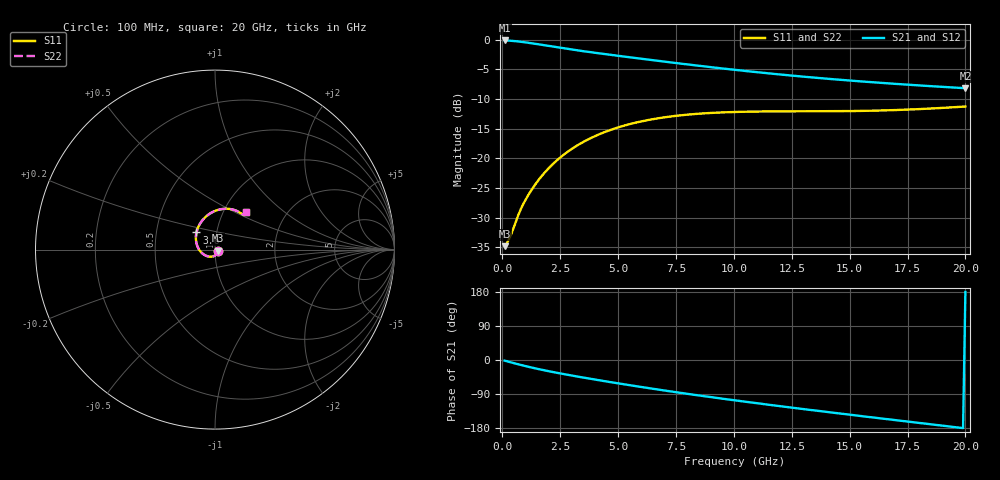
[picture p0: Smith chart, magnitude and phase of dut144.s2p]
! Touchstone file exported from HFSS 2023.1.0
!  File:  D:/Users/fzz/RDL_TSV/temp_RDL_TSV_144_1778752582.aedt
!  Generated:  6:04:47 %x4E0B%x5348  5%x6708 14, 2026
!  Design:  RDL_TSV
!  Project:  temp_RDL_TSV_144_1778752582
!  Setup:  Setup1
!  Solution:  Sweep
! Variables:
!  dtsv = 15.02um
!  hbump = 3um
!  htsv = 82.29um
!  ldown = 304.69um
!  lrdl = 280.45um
!  p = 40
!  p1 = 41.22um
!  rhole = 10um
!  subl = 2035.87um
!  t = 450um
!  tdown = 4.62um
!  trdl = 2.09um
!  viad = 10um
!  wdown = 15.69um
!  wrdl = 14.47um
!  xbump = 18um
# GHz S MA R 50.000000
! Terminal data exported
! Port[1] = TM1_1_T1
! Port[2] = TM1_4_T1
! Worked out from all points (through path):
!   200 points, 100 MHz to 20 GHz, reference 50 ohm
!   highest |S21| = -0.16 dB at 100 MHz (marker M1); lowest = -8.2 dB at 20 GHz (marker M2)
!   group delay of S21, straight-line fit = 23.7 ps
!   lowest |S11| = -34.8 dB at 100 MHz (marker M3), VSWR 1.04, Z = 51.8 - j0.551 ohm
!   |S11| at or under -10 dB: start of sweep to end of sweep
!   |S22| runs from -34.8 to -11.3 dB; largest |S21 - S12| = 9e-15
!   S11 on the Smith chart (normalised r, x): 100 MHz: 1.04, -0.01; 3.6 GHz: 0.80, +0.16; 20 GHz: 1.27, +0.58
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0.1  0.01821 -17.0  0.9817 -1.7  0.9817 -1.7  0.01821 -17.0
! Gamma 0 0 0 0
! Port Impedance 50 0 50 0
0.3  0.02107 -47.4  0.9779 -5.1  0.9779 -5.1  0.02102 -47.3
0.7  0.03358 -91.8  0.9624 -11.5  0.9624 -11.5  0.0338 -91.6
0.9  0.04094 -109.9  0.952 -14.6  0.952 -14.6  0.04107 -110.0
1.2  0.05186 -131.8  0.934 -19.0  0.934 -19.0  0.05188 -131.8
1.5  0.06314 -149.5  0.9146 -23.1  0.9146 -23.1  0.06314 -149.5
1.9  0.07852 -168.9  0.8885 -28.3  0.8885 -28.3  0.07851 -168.9
2.4  0.0977 171.3  0.8573 -34.3  0.8573 -34.3  0.09768 171.3
2.9  0.1163 155.3  0.8286 -39.9  0.8286 -39.9  0.1163 155.3
3.5  0.1374 139.5  0.7973 -46.4  0.7973 -46.4  0.1374 139.5
3.6  0.1407 137.2  0.7923 -47.4  0.7923 -47.4  0.1407 137.2
4.3  0.1627 122.7  0.7596 -54.6  0.7596 -54.6  0.1627 122.7
5.1  0.1844 109.2  0.725 -62.6  0.725 -62.6  0.1844 109.2
6.8  0.2183 88.0  0.6586 -78.7  0.6586 -78.7  0.2182 88.0
8.4  0.2366 74.1  0.6039 -92.8  0.6039 -92.8  0.2365 74.1
10.1  0.2456 63.9  0.5538 -106.9  0.5538 -106.9  0.2455 63.9
11.7  0.2482 57.5  0.5142 -119.6  0.5142 -119.6  0.2481 57.5
13.4  0.2487 53.4  0.479 -132.5  0.479 -132.5  0.2485 53.4
15  0.2497 51.4  0.4514 -144.3  0.4514 -144.3  0.2496 51.4
16.7  0.2537 50.7  0.4268 -156.7  0.4268 -156.7  0.2536 50.7
18.3  0.2612 50.6  0.4071 -168.2  0.4071 -168.2  0.261 50.6
20  0.2728 50.6  0.389 179.6  0.389 179.6  0.2726 50.6
